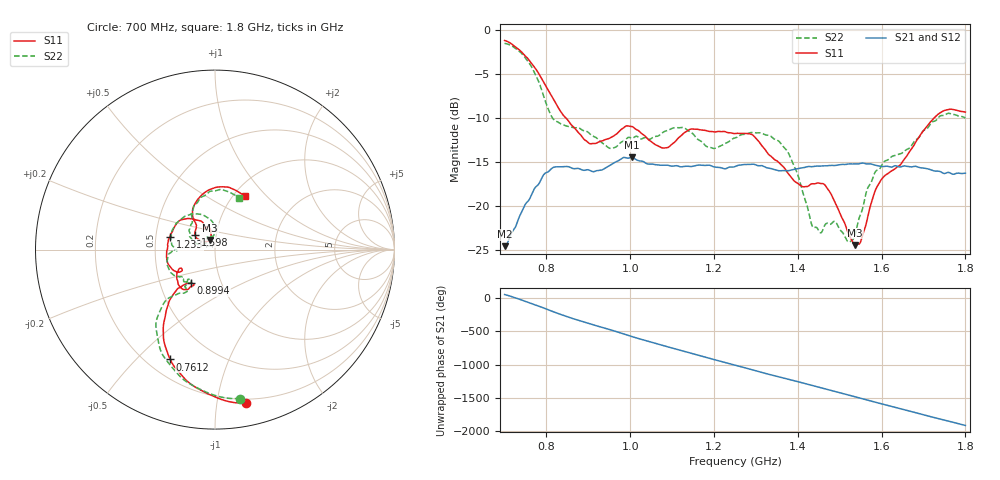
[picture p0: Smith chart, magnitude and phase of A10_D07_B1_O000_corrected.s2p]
! Created with skrf 1.9.0 (http://scikit-rf.org).
# Hz S RI R 50.0
!freq ReS11 ImS11 ReS21 ImS21 ReS12 ImS12 ReS22 ImS22
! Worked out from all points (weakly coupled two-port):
!   1601 points, 700 MHz to 1.8 GHz, reference 50 ohm
!   highest |S21| = -14.48 dB at 1.004 GHz (marker M1); lowest = -24.6 dB at 700.7 MHz (marker M2)
!   lowest |S11| = -24.4 dB at 1.537 GHz (marker M3), VSWR 1.13, Z = 47.1 + j5.07 ohm
!   |S11| at or under -10 dB: 846.4 MHz to 1.725 GHz (878.7 MHz wide, 68.3 % of centre)
!   |S22| runs from -24.1 to -1.5 dB; largest |S21 - S12| = 0.0037
!   S11 on the Smith chart (normalised r, x): 700 MHz: 0.17, -1.21; 761.2 MHz: 0.29, -0.63; 899.4 MHz: 0.72, -0.28; 1.233 GHz: 0.59, +0.09; 1.598 GHz: 0.79, +0.13; 1.8 GHz: 1.12, +0.76
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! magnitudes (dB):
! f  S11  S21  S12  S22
! 700 MHz  -1.2  -24.6  -24.4  -1.5
! 700.7 MHz  -1.2  -24.6  -24.3  -1.5
! 761.2 MHz  -3.6  -19.1  -19.0  -3.9
! 816.2 MHz  -7.8  -15.6  -15.7  -10.1
! 883.6 MHz  -12.0  -15.9  -15.8  -11.3
! 899.4 MHz  -12.8  -15.9  -15.9  -11.6
! 953 MHz  -12.2  -15.3  -15.3  -13.5
! 1.004 GHz  -11.0  -14.5  -14.6  -12.3
! 1.067 GHz  -13.2  -15.4  -15.3  -12.0
! 1.145 GHz  -11.2  -15.5  -15.5  -11.6
! 1.233 GHz  -11.7  -15.7  -15.7  -12.8
! 1.25 GHz  -11.8  -15.5  -15.5  -12.3
! 1.358 GHz  -15.2  -16.0  -16.0  -12.8
! 1.396 GHz  -17.3  -15.8  -15.8  -16.0
! 1.434 GHz  -17.5  -15.5  -15.5  -22.2
! 1.47 GHz  -18.0  -15.4  -15.4  -22.0
! 1.537 GHz  -24.4  -15.2  -15.2  -23.3
! 1.566 GHz  -21.4  -15.2  -15.2  -18.0
! 1.598 GHz  -17.1  -15.5  -15.5  -15.6
! 1.617 GHz  -16.2  -15.5  -15.5  -14.7
! 1.735 GHz  -9.6  -16.0  -16.1  -10.0
! 1.8 GHz  -9.3  -16.3  -16.3  -10.0
